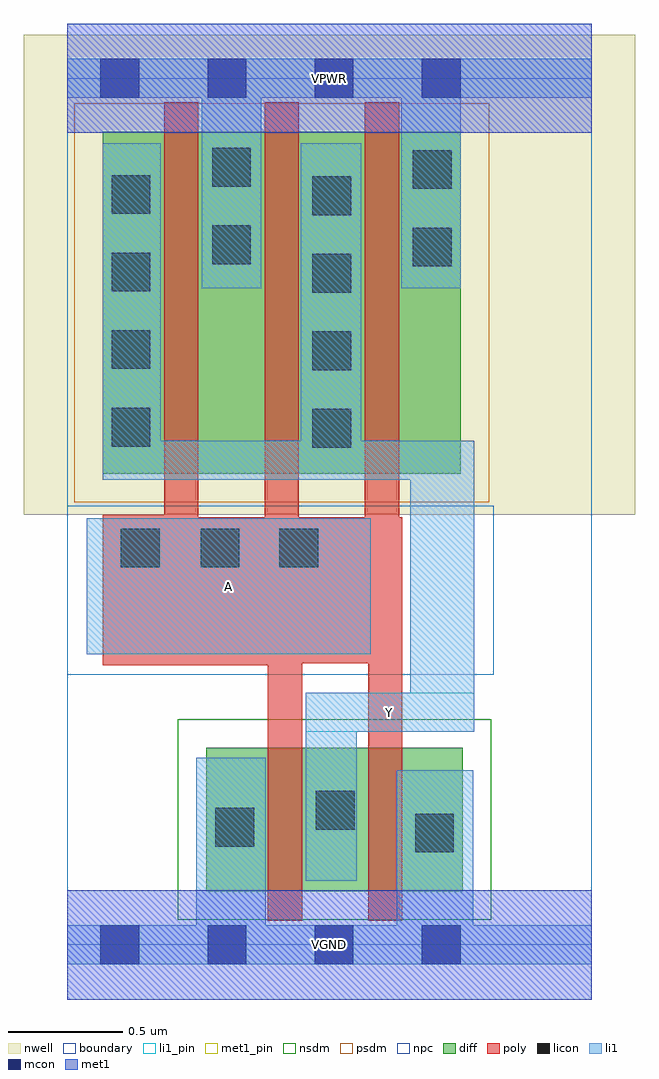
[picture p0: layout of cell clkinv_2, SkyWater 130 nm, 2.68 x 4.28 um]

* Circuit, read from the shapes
.subckt clkinv_2 A VGND VPWR Y
XM1 Y A VGND VSUBS sky130_fd_pr__nfet_01v8 w=0.63 l=0.15 m=2
XM2 VPWR A Y n1 sky130_fd_pr__pfet_01v8 w=1.5 l=0.15 m=3
.ends

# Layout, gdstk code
import gdstk
lib = gdstk.Library(unit=1e-6, precision=1e-09)
def R(c, l, rs):  # rectangles x0, y0, x1, y1
    for r in rs: c.add(gdstk.rectangle(r[:2], r[2:], *l))
def A(c, l, x, y, w, h, nx, ny, dx, dy):  # array of equal rectangles
    R(c, l, [(x+i*dx, y+j*dy, x+i*dx+w, y+j*dy+h) for i in range(nx) for j in range(ny)])
nwell = (64, 20)
diff = (65, 20)
poly = (66, 20)
licon = (66, 44)
li1_pin = (67, 16)
li1 = (67, 20)
mcon = (67, 44)
met1_pin = (68, 16)
met1 = (68, 20)
nsdm = (93, 44)
psdm = (94, 20)
npc = (95, 20)
boundary = (235, 4)

clkinv_2 = lib.new_cell('clkinv_2')
R(clkinv_2, nwell, [(-0.19,1.885,2.49,3.99), (0,1.885,2.3,3.99)])
R(clkinv_2, diff, [(0.61,0.235,1.735,0.865), (0.155,2.065,1.725,3.565)])
R(clkinv_2, poly, [(0.88,0.105,1.03,1.875), (1.32,0.105,1.47,1.875), (0.155,1.225,1.03,1.875), (0.155,1.225,0.575,1.885), (0.425,1.225,0.575,3.695), (0.865,1.225,1.015,3.695), (0.155,1.235,1.47,1.875), (1.305,1.235,1.455,3.695)])
A(clkinv_2, licon, 1.075, 2.18, 0.17, 0.17, 1, 4, 0, 0.34)
A(clkinv_2, licon, 0.195, 2.185, 0.17, 0.17, 1, 4, 0, 0.34)
R(clkinv_2, licon, [(1.525,0.405,1.695,0.575), (0.65,0.43,0.82,0.6), (1.09,0.505,1.26,0.675), (0.235,1.655,0.405,1.825), (0.585,1.655,0.755,1.825), (0.93,1.655,1.1,1.825), (1.515,2.975,1.685,3.145), (0.635,2.985,0.805,3.155), (1.515,3.315,1.685,3.485), (0.635,3.325,0.805,3.495)])
R(clkinv_2, li1_pin, [(1.045,0.935,1.785,1.105), (0.085,1.275,1.33,1.87)])
R(clkinv_2, li1, [(0,-0.085,2.3,0.085), (0.565,-0.085,0.87,0.82), (1.445,-0.085,1.78,0.765), (1.045,0.28,1.27,1.105), (1.045,0.935,1.785,1.105), (1.505,0.935,1.785,2.21), (0.085,1.275,1.33,1.87), (0.155,2.04,1.785,2.21), (0.155,2.04,0.41,3.515), (1.025,2.04,1.29,3.515), (0.59,2.88,0.85,3.885), (1.465,2.88,1.725,3.885), (0,3.715,2.3,3.885)])
A(clkinv_2, mcon, 0.145, -0.085, 0.17, 0.17, 4, 2, 0.47, 3.8)
R(clkinv_2, met1_pin, [(0,-0.24,2.3,0.24), (0,3.56,2.3,4.04)])
R(clkinv_2, met1, [(0,-0.24,2.3,0.24), (0,3.56,2.3,4.04)])
R(clkinv_2, nsdm, [(0.485,0.11,1.86,0.99)])
R(clkinv_2, psdm, [(0.03,1.94,1.85,3.69)])
R(clkinv_2, npc, [(0,1.185,1.87,1.925)])
R(clkinv_2, boundary, [(0,0,2.3,3.8)])
clkinv_2.add(gdstk.Label('A', (0.707,1.572), layer=67, texttype=5))
clkinv_2.add(gdstk.Label('Y', (1.415,1.02), layer=67, texttype=5))
clkinv_2.add(gdstk.Label('VPWR', (1.15,3.8), layer=68, texttype=5))
clkinv_2.add(gdstk.Label('VGND', (1.15,0), layer=68, texttype=5))
clkinv_2.add(gdstk.Label('A', (0.707,1.572), layer=67, texttype=16))
clkinv_2.add(gdstk.Label('Y', (1.415,1.02), layer=67, texttype=16))
clkinv_2.add(gdstk.Label('VPWR', (1.15,3.8), layer=68, texttype=16))
clkinv_2.add(gdstk.Label('VGND', (1.15,0), layer=68, texttype=16))

lib.write_gds('clkinv_2.gds')
